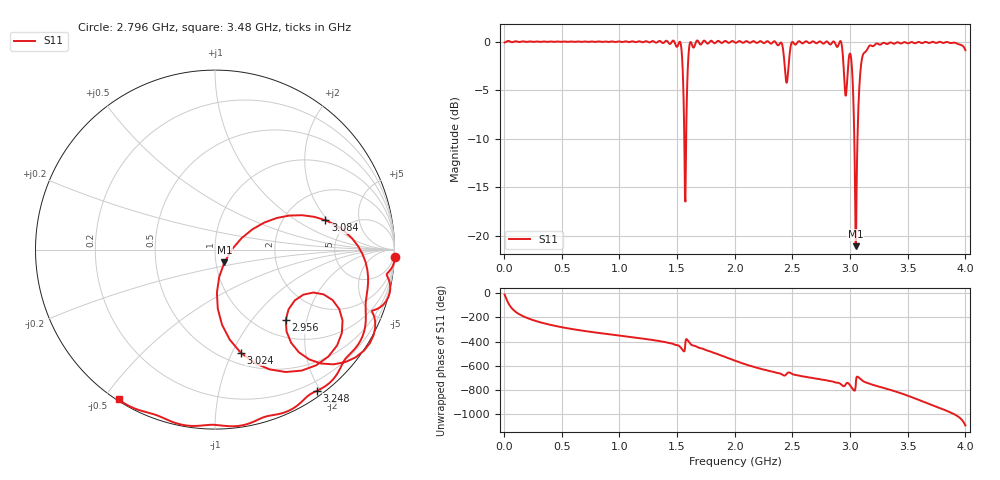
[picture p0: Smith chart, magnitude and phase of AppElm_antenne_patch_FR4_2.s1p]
! TOUCHSTONE file generated by CST MICROWAVE STUDIO
! Date and time: Tue Jun  7 21:31:14 2022
! Project name: AppElm_antenne_patch_FR4.cst
! Parameters = {L=45; W=58.5; e=0.035; h=1.6; lambda=0.190476; ls=120; w0=1.28; w1=0.533; ws=120; y0=20; y1=23.81}
! Header version: 2018
! Port assignment regex: !\s*Touchstone port\s*([0-9]+)\s*=\s*(CST MWS port|CST DS port)\s*([0-9]+|Zmin|Zmax)\s*\(\"(.*)\"\)(\s*mode\s*([0-9]+))?.*
! Touchstone port assignment:
! Touchstone port 1 = CST MWS port 1 ("")
# GHz S MA R 50
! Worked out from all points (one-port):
!   1000 points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, 4 MHz to 4 GHz, reference 50 ohm
!   lowest |S11| = -21.1 dB at 3.048 GHz (marker M1), VSWR 1.19, Z = 54.9 - j7.86 ohm
!   |S11| at or under -10 dB: 1.562 GHz to 1.578 GHz (16.34 MHz wide, 1.04 % of centre); 3.037 GHz to 3.064 GHz (27.62 MHz wide, 0.905 % of centre)
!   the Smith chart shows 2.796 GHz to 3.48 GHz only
!   S11 on the Smith chart (normalised r, x): 2.796 GHz: -3, -49; 2.956 GHz: 1.33, -1.51; 3.024 GHz: 0.61, -1.08; 3.084 GHz: 3.39, +1.87; 3.248 GHz: 0.07, -1.96; 3.48 GHz: 0.01, -0.55
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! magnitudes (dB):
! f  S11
! 4 MHz  -0.1
! 504 MHz  0.0
! 1.004 GHz  0.0
! 1.504 GHz  -0.5
! 1.532 GHz  -0.3
! 1.556 GHz  -5.9
! 1.572 GHz  -16.5
! 1.584 GHz  -6.1
! 1.604 GHz  -0.7
! 1.62 GHz  -0.1
! 2.004 GHz  -0.1
! 2.396 GHz  -0.1
! 2.448 GHz  -4.2
! 2.504 GHz  0.0
! 2.796 GHz  0.0
! 2.916 GHz  0.1
! 2.956 GHz  -5.1
! 3.004 GHz  -1.3
! 3.024 GHz  -4.6
! 3.036 GHz  -9.6
! 3.048 GHz  -21.1
! 3.064 GHz  -10.1
! 3.084 GHz  -3.9
! 3.12 GHz  -1.2
! 3.248 GHz  -0.3
! 3.48 GHz  -0.1
! 3.504 GHz  -0.2
! 4 GHz  -0.9
